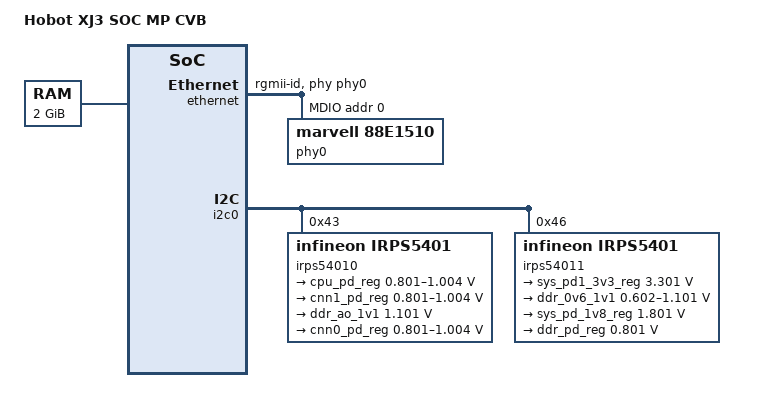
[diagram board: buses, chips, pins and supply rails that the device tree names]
/*
 * dts file for Hobot XJ3 CVB
 *
 * (C) Copyright 2018, Horizon, Inc.
 *
 *
 * This program is free software; you can redistribute it and/or
 * modify it under the terms of the GNU General Public License as
 * published by the Free Software Foundation; either version 2 of
 * the License, or (at your option) any later version.
 */

/dts-v1/;
#include "hobot-xj3-xvb.dtsi"

/ {
	model = "Hobot XJ3 SOC MP CVB";
	compatible = "hobot,x3-soc";

	memory@0 {
		device_type = "memory";
		reg = <0x0 0x0 0x0 0x80000000>;
	};
};

&ethernet {
	   status = "okay";

	   /* local-mac-address = [ 00 11 22 33 44 55 ]; */
	   phy-handle = <&phy0>;
	   phy-mode = "rgmii-id";
	   mdio {
			   #address-cells = <0x1>;
			   #size-cells = <0x0>;
			   phy0: phy@0 {
					   compatible = "marvell,88E1510","ethernet-phy-ieee802.3-c22";
					   reg = <0x0>;
			   };
	   };
};

&sdio1 {
	powerup-gpio = <100>;	/* xj3-cvb UART1_CTSN/GPIO6[4] */
	powerup-logic = <0>;
	/* broken-cd; */
};

&sdio2 {
	powerup-gpio = <98>;	/* xj3-cvb UART1_RXD/GPIO6[2] */
};

/*TODO: maybe need to change or delete */
&cpu_opp_table {
	compatible = "operating-points-v2";
	opp-shared;
	opp00 {
		opp-hz = /bits/ 64 <1200000000>;
		opp-microvolt = <800730>;
		clock-latency-ns = <500000>;
	};
	opp01 {
		opp-hz = /bits/ 64 <1000000000>;
		opp-microvolt = <800730>;
		clock-latency-ns = <500000>;
	};
	opp02 {
		opp-hz = /bits/ 64 <800000000>;
		opp-microvolt = <800730>;
		clock-latency-ns = <500000>;
	};
	opp03 {
		opp-hz = /bits/ 64 <500000000>;
		opp-microvolt = <800730>;
		clock-latency-ns = <500000>;
	};
	opp04 {
		opp-hz = /bits/ 64 <1500000000>;
		opp-microvolt = <1003842>;
		clock-latency-ns = <500000>;
		turbo-mode;
	};
};

&cnn_opp_table {
	compatible = "operating-points-v2";
	opp-shared;
	opp00 {
		opp-hz = /bits/ 64 <1000000000>;
		opp-microvolt = <800730>;
		clock-latency-ns = <500000>;
	};
	opp01 {
		opp-hz = /bits/ 64 <800000000>;
		opp-microvolt = <800730>;
		clock-latency-ns = <500000>;
	};
	opp02 {
		opp-hz = /bits/ 64 <400000000>;
		opp-microvolt = <800730>;
		clock-latency-ns = <500000>;
	};
	opp03 {
		opp-hz = /bits/ 64 <1200000000>;
		opp-microvolt = <1003842>;
		clock-latency-ns = <500000>;
		turbo-mode;
	};
};

&i2c0 {
	irps54010@43 {
		compatible = "infineon,irps5401";
		reg = <0x43>;
		regulators {
			cpu_pd_reg: DCDC1 {
				regulator-name = "VCC_CPU";
				regulator-min-microvolt = <800730>;
				regulator-max-microvolt = <1003842>;
				regulator-always-on;
			};

			cnn1_pd_reg: DCDC2 {
				regulator-name = "VCC_CNN1";
				regulator-min-microvolt = <800730>;
				regulator-max-microvolt = <1003842>;
				regulator-enable-ramp-delay = <3000>;
			};

			ddr_ao_1v1: DCDC3 {
				regulator-name = "DDR_AO_1V1";
				regulator-min-microvolt = <1101492>;
				regulator-max-microvolt = <1101492>;
				regulator-always-on;
			};

			cnn0_pd_reg: DCDC4 {
				regulator-name = "VCC_CNN0";
				regulator-min-microvolt = <800730>;
				regulator-max-microvolt = <1003842>;
				regulator-enable-ramp-delay = <3000>;
			};
		};
	};

	irps54011@46 {
		compatible = "infineon,irps5401";
		reg = <0x46>;
		regulators {
			sys_pd1_3v3_reg: DCDC1 {
				regulator-name = "VDD_3V3";
				regulator-min-microvolt = <3300570>;
				regulator-max-microvolt = <3300570>;
				regulator-always-on;
			};

			ddr_0v6_1v1: DCDC2 {
				regulator-name = "DDR_0V6_1V1";
				regulator-min-microvolt = <601524>;
				regulator-max-microvolt = <1101492>;
				regulator-always-on;
			};

			sys_pd_1v8_reg: DCDC3 {
				regulator-name = "VDD_1V8";
				regulator-min-microvolt = <1800666>;
				regulator-max-microvolt = <1800666>;
				regulator-always-on;
			};

			ddr_pd_reg: DCDC4 {
				regulator-name = "VDD_DDR_PD";
				regulator-min-microvolt = <800730>;
				regulator-max-microvolt = <800730>;
				regulator-always-on;
			};
		};
	};

};

&cpu0 {
	cpu-supply = <&cpu_pd_reg>;
};

&cpu1 {
	cpu-supply = <&cpu_pd_reg>;
};

&cpu2 {
	cpu-supply = <&cpu_pd_reg>;
};

&cpu3 {
	cpu-supply = <&cpu_pd_reg>;
};

&cnn0 {
	cnn-supply = <&cnn0_pd_reg>;
};

&cnn1 {
	cnn-supply = <&cnn1_pd_reg>;
};
